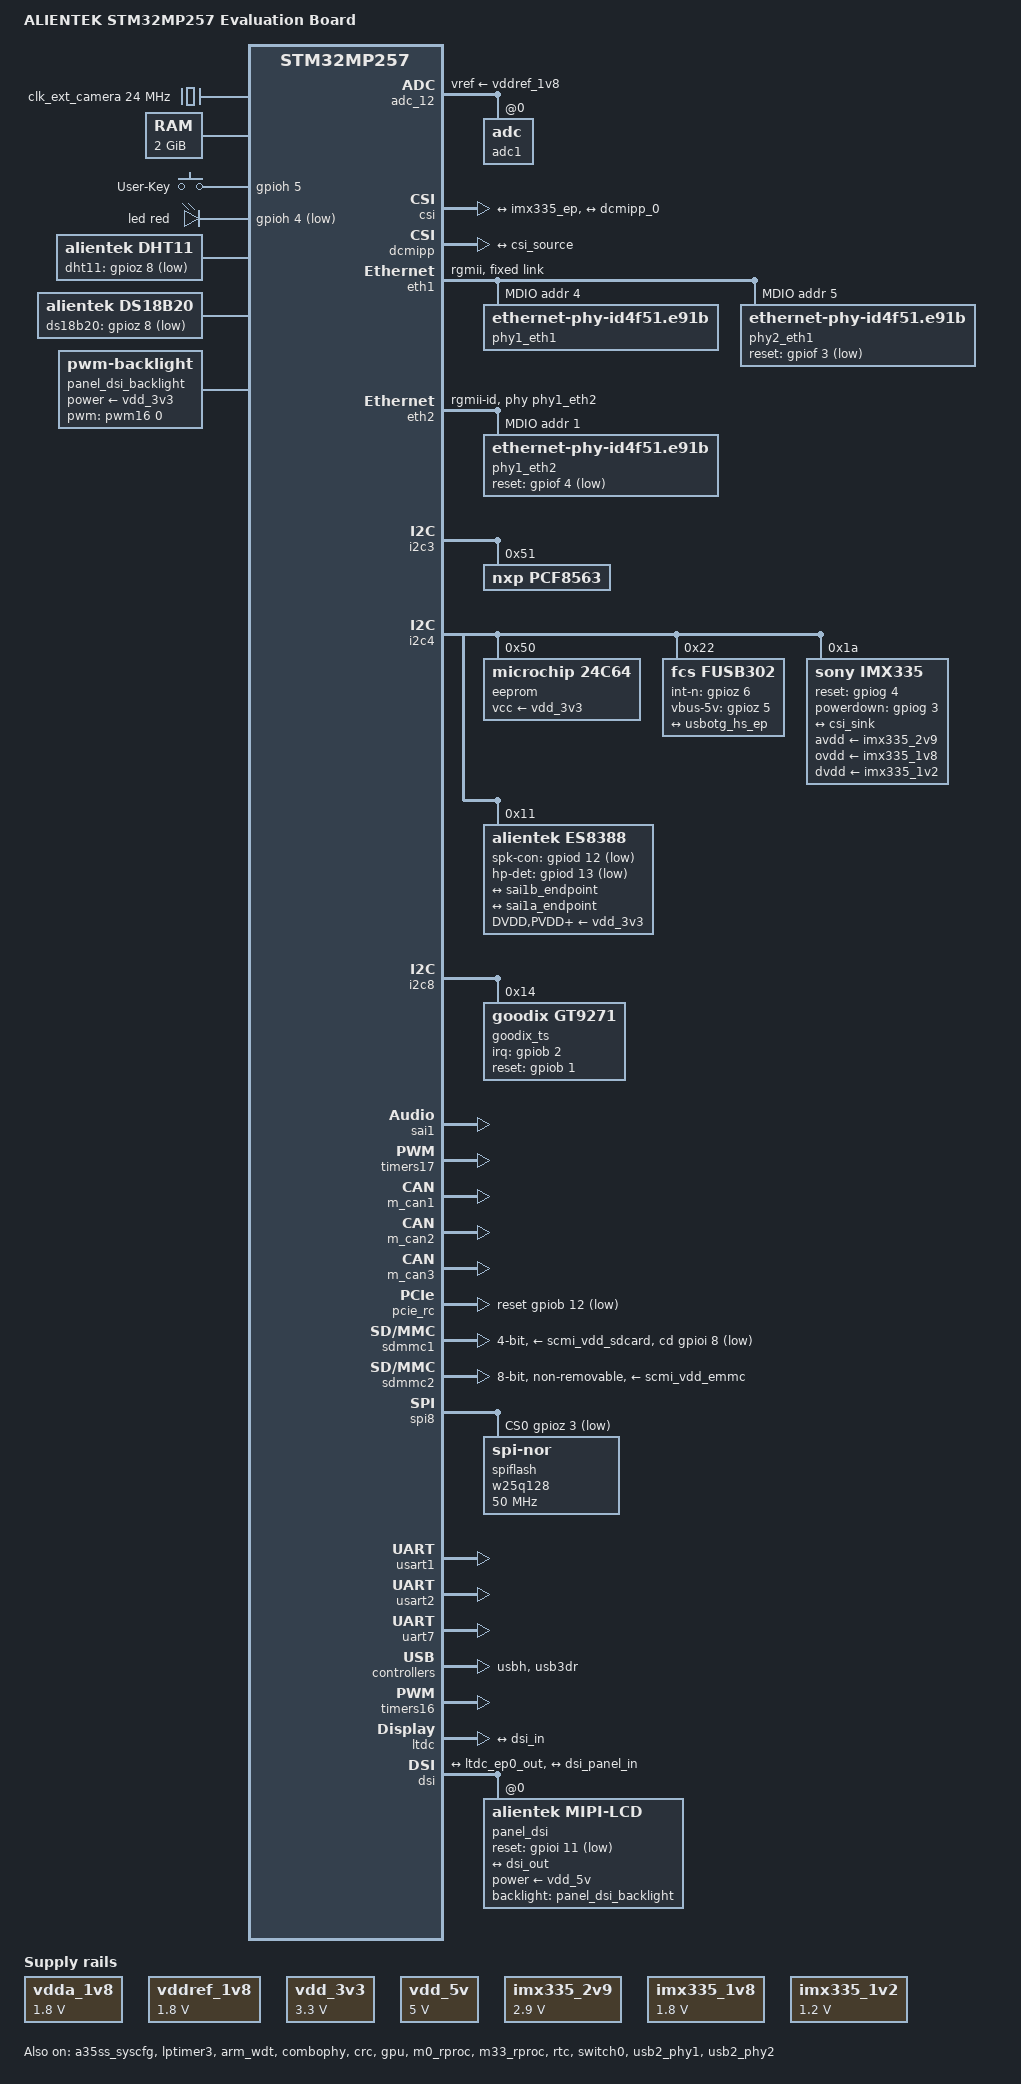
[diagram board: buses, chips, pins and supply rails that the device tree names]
/dts-v1/;

#include <dt-bindings/gpio/gpio.h>
#include <dt-bindings/input/input.h>
#include <dt-bindings/leds/common.h>
#include <dt-bindings/regulator/st,stm32mp25-regulator.h>
#include "stm32mp257.dtsi"
#include "stm32mp25-pinctrl-atk-ddr-2GB.dtsi"
#include "stm32mp25xxak-pinctrl.dtsi"
#include "stm32mp257d-atk-ddr-2GB-ca35tdcid-resmem.dtsi"
#include <dt-bindings/usb/pd.h>

/ {
	model = "ALIENTEK STM32MP257 Evaluation Board";
	compatible = "st,stm32mp257d-atk", "st,stm32mp257";

	aliases {
		ethernet0 = &eth2;
		ethernet1 = &eth1;
		serial0 = &usart2;
		serial1 = &usart1;
		serial2 = &uart7;
		mmc0 = &sdmmc1;
		mmc1 = &sdmmc2;
	};

	chosen {
		stdout-path = "serial0:115200n8";
		#address-cells = <2>;
		#size-cells = <2>;
		ranges;

		framebuffer {
			compatible = "simple-framebuffer";
			clocks = <&rcc CK_BUS_LTDC>, <&rcc CK_KER_LTDC>,
				 <&rcc CK_BUS_LVDS>, <&rcc CK_KER_LVDSPHY>;
			status = "disabled";
		};
	};

	clocks {
		cec_clock: cec-clock {
			compatible = "fixed-clock";
			#clock-cells = <0>;
			clock-frequency = <12000000>;
		};

		clk_ext_camera: clk-ext-camera {
			#clock-cells = <0>;
			compatible = "fixed-clock";
			clock-frequency = <24000000>;
		};

		pad_clk: pad-clk {
			#clock-cells = <0>;
			compatible = "fixed-clock";
			clock-frequency = <100000000>;
		};
	};

	memory@80000000 {
		device_type = "memory";
		reg = <0x0 0x80000000 0x0 0x80000000>;
	};

	gpio-keys {
		compatible = "gpio-keys";

		button-user {
			label = "User-Key";
			linux,code = <BTN_1>;
			gpios = <&gpioh 5 GPIO_ACTIVE_HIGH>;
			gpio-key,wakeup;
			status = "okay";
		};
	};

	gpio-leds {
		compatible = "gpio-leds";
		status = "okay";

		led {
			function = LED_FUNCTION_HEARTBEAT;
			color = <LED_COLOR_ID_RED>;
			gpios = <&gpioh 4 GPIO_ACTIVE_LOW>;
			linux,default-trigger = "heartbeat";
			default-state = "off";
		};
	};

    dht11 {
        compatible = "alientek,dht11";
        dht11-gpio = <&gpioz 8 GPIO_ACTIVE_LOW>;
        status = "okay";
    };

    ds18b20 {
        compatible = "alientek,ds18b20";
        ds18b20-gpio = <&gpioz 8 GPIO_ACTIVE_LOW>;
        status = "okay";
    };

    sound {
        compatible = "audio-graph-card";
        label = "es8388-audio";
		dais = <&sai1a_port &sai1b_port>;
		widgets = 
			"Headphone", "Headphone Jack",
			"Speaker", "Ext Spk",
			"Microphone", "Mic Jack";
        routing =
			"Playback", "MCLK",
    		"Capture", "MCLK",
            "Headphone Jack", "LOUT1",
            "Headphone Jack", "ROUT1",
            "Ext Spk", "LOUT2",
            "Ext Spk", "ROUT2",
            "LINPUT1", "Mic Jack",
            "LINPUT2", "Mic Jack",
            "RINPUT2", "Mic Jack",
            "Mic Jack", "Mic Bias";
    };

	vdda_1v8: regulator-vdda-1v8 {
			compatible = "regulator-fixed";
			regulator-name = "vdda_1v8";
			regulator-min-microvolt = <1800000>;
			regulator-max-microvolt = <1800000>;
			regulator-always-on;
			regulator-boot-on;
	};

	vddref_1v8: regulator-vddref-1v8 {
			compatible = "regulator-fixed";
			regulator-name = "vddref_1v8";
			regulator-min-microvolt = <1800000>;
			regulator-max-microvolt = <1800000>;
			regulator-always-on;
			regulator-boot-on;
	};

	vdd_3v3: regulator-vdd-3v3 {
		compatible = "regulator-fixed";
		regulator-name = "vdd_3v3";
		regulator-min-microvolt = <3300000>;
		regulator-max-microvolt = <3300000>;
		regulator-always-on;
		regulator-boot-on;
	};

	vdd_5v: regulator-vdd-5v {
		compatible = "regulator-fixed";
		regulator-name = "vdd_5v";
		regulator-min-microvolt = <5000000>;
		regulator-max-microvolt = <5000000>;
		regulator-always-on;
		regulator-boot-on;
	};

	imx335_2v9: imx335-2v9 {
		compatible = "regulator-fixed";
		regulator-name = "imx335-avdd";
		regulator-min-microvolt = <2900000>;
		regulator-max-microvolt = <2900000>;
		regulator-always-on;
	};

	imx335_1v8: imx335-1v8 {
		compatible = "regulator-fixed";
		regulator-name = "imx335-ovdd";
		regulator-min-microvolt = <1800000>;
		regulator-max-microvolt = <1800000>;
		regulator-always-on;
	};

	imx335_1v2: imx335-1v2 {
		compatible = "regulator-fixed";
		regulator-name = "imx335-dvdd";
		regulator-min-microvolt = <1200000>;
		regulator-max-microvolt = <1200000>;
		regulator-always-on;
	};

	dsi_lcd_id {
        dsi_select_id = <2>;
    };
	
	panel_dsi_backlight: panel-dsi-backlight {
        compatible = "pwm-backlight";
        pwms = <&pwm16 0 5000000 0>;
		brightness-levels = <
                     0   1   2   3   4   5   6   7	 8   9
					10  11  12  13  14  15  16  17  18  19
					20  21  22  23  24  25  26  27  28  29
					30  31  32  33  34  35  36  37  38  39
                    40  41  42  43  44  45  46  47  48  49
					50  51  52  53  54  55  56  57  58  59
					60  61  62  63  64  65  66  67  68  69
					70  71  72  73  74  75  76  77  78  79
                    80  81  82  83  84  85  86  87  88  89
					90  91  92  93  94  95  96  97  98  99
					100 101 102 103 104 105 106 107 108 109
					110 111 112 113 114 115 116 117 118 119
                    120 121 122 123 124 125 126 127 128 129
					130 131 132 133 134 135 136 137 138 139
					140 141 142 143 144 145 146 147 148 149
					150 151 152 153 154 155 156 157 158 159
                    160 161 162 163 164 165 166 167 168 169
					170 171 172 173 174 175 176 177 178 179
					180 181 182 183 184 185 186 187 188 189
					190 191 192 193 194 195 196 197 198 199
                    200 201 202 203 204 205 206 207 208 209
					210 211 212 213 214 215 216 217 218 219
					220 221 222 223 224 225 226 227 228 229
					230 231 232 233 234 235 236 237 238 239
                    240 241 242 243 244 245 246 247 248 249
					250 251 252 253 254 255>;
        power-supply = <&vdd_3v3>;
        default-brightness-level = <255>;
        status = "okay";
	};
};

&a35ss_syscfg {
	status = "okay";
};

&ipcc1 {
	status = "okay";
};

&ipcc2 {
	status = "okay";
};

/* use LPTIMER with tick broadcast for suspend mode */
&lptimer3 {
	status = "okay";
	timer {
		status = "okay";
	};
};

&ahbsr {
	mbox_client: mailbox-client@1 {
		compatible = "mbox-cdev";
		reg = <1 0>;
		memory-region =  <&ipc_shmem_2>;
		mboxes = <&ipcc2 0>;
		mbox-names = "rx-tx";
		status = "okay";
	};
};

&arm_wdt {
	timeout-sec = <32>;
	status = "okay";
};

&combophy {
	clocks = <&rcc CK_BUS_USB3PCIEPHY>, <&rcc CK_KER_USB3PCIEPHY>, <&pad_clk>;
	clock-names = "apb-clk", "ker-clk", "pad-clk";
	st,rx_equalizer = <1>;
	status = "okay";
};

&crc {
	status = "okay";
};

&adc_12 {
	pinctrl-names = "default";
	pinctrl-0 = <&adc1_in15_pins_a>;
	vdda-supply = <&vdda_1v8>;
	vref-supply = <&vddref_1v8>;
	status = "okay";

	adc1: adc@0 {
		#address-cells = <1>;
		#size-cells = <0>;
		status = "okay";

		channel@15 {
			reg = <15>;               			/* ADC1 in15 channel is used */
			st,min-sample-time-ns = <10000>;  	/* 10µs sampling time */
		};
	};
};

&csi {
	vdd-supply = <&scmi_vddcore>;
	vdda18-supply = <&scmi_v1v8>;
	status = "okay";
	ports {
		#address-cells = <1>;
		#size-cells = <0>;
		port@0 {
			reg = <0>;
			csi_sink: endpoint {			
				remote-endpoint = <&imx335_ep>;	
				data-lanes = <0 1>;
				bus-type = <4>;
			};
		};

		port@1 {
			reg = <1>;
			csi_source: endpoint {
				remote-endpoint = <&dcmipp_0>;
			};
		};
	};
};

&dcmipp {
	status = "okay";
	port {
		dcmipp_0: endpoint {
			remote-endpoint = <&csi_source>;
			bus-type = <4>;
		};
	};
};

&eth1 {
	status = "okay";
	pinctrl-0 = <&eth1_mdio_pins_a>;
	pinctrl-names = "default";
	phy-mode = "rgmii";
	st,eth-clk-sel;
	snps,ext-systime;
    fixed_link: fixed-link {  
    	speed = <1000>;
    	full-duplex;
    };

    mdio1 {
    	#address-cells = <1>;
       	#size-cells = <0>;
    	compatible = "snps,dwmac-mdio";
		phy1_eth1: ethernet-phy@4 {
				compatible = "ethernet-phy-id4f51.e91b",
						"ethernet-phy-ieee802.3-c22";			
				reg = <4>;  
		};
		phy2_eth1: ethernet-phy@5 {
				compatible = "ethernet-phy-id4f51.e91b",
						"ethernet-phy-ieee802.3-c22";
				reset-gpios =  <&gpiof 3 GPIO_ACTIVE_LOW>;
				reset-assert-us = <10000>;
				reset-deassert-us = <80000>;
				reg = <5>;
		};
    };
};

&eth2 {
	status = "okay";
	pinctrl-0 = <&eth2_rgmii_pins_a>;
	pinctrl-1 = <&eth2_rgmii_sleep_pins_a>;
	pinctrl-names = "default", "sleep";
	phy-mode = "rgmii-id";
	max-speed = <1000>;
	phy-handle = <&phy1_eth2>;
	st,eth-ptp-from-rcc;
	st,ext-phyclk;
	st,eth-clk-sel;

	mdio1 {
		#address-cells = <1>;
		#size-cells = <0>;
		compatible = "snps,dwmac-mdio";
		phy1_eth2: ethernet-phy@1 {
			compatible = "ethernet-phy-id4f51.e91b";
			reset-gpios =  <&gpiof 4 GPIO_ACTIVE_LOW>;
			reset-assert-us = <10000>;
			reset-deassert-us = <80000>;
			reg = <1>;
		};
	};
};

&gpu {
	contiguous-area = <&gpu_reserved>;
	status = "okay";
};

&hpdma {
	memory-region = <&hpdma1_lli>;
};

&hpdma2 {
	memory-region = <&hpdma2_lli>;
};

&hpdma3 {
	memory-region = <&hpdma3_lli>;
};

&i2c3 {
	pinctrl-names = "default", "sleep";
	pinctrl-0 = <&i2c3_pins_a>;
	pinctrl-1 = <&i2c3_sleep_pins_a>;
	status = "okay";
	/delete-property/dmas;
	/delete-property/dma-names;

	pcf8563@51 {
		compatible = "nxp,pcf8563";
		reg = <0x51>;
		status = "okay";
	};
};

&i2c4 {
	pinctrl-names = "default", "sleep";
	pinctrl-0 = <&i2c4_pins_a>;
	pinctrl-1 = <&i2c4_sleep_pins_a>;
	status = "okay";
	/delete-property/dmas;
	/delete-property/dma-names;

	eeprom@50 {
		compatible = "microchip,24c64", "atmel,24c64";
		pagesize = <32>;
		reg = <0x50>;
		vcc-supply = <&vdd_3v3>;
		status = "okay";
	};

	fusb302@22 {
		compatible = "fcs,fusb302","fairchild,fusb302";
		reg = <0x22>;
		int-n-gpios = <&gpioz 6 GPIO_ACTIVE_HIGH>;
		vbus-5v-gpios = <&gpioz 5 GPIO_ACTIVE_HIGH>;
		status = "okay";

		connector {
			compatible = "usb-c-connector";
			label = "USB-C";
			power-role = "dual";
			power-opmode = "default";
			try-power-role = "sink";
			source-pdos = <PDO_FIXED(5000, 3000, PDO_FIXED_USB_COMM)>;
			sink-pdos = <PDO_FIXED(5000, 3000, PDO_FIXED_USB_COMM)
			PDO_VAR(3000, 12000, 3000)
			PDO_PPS_APDO(3000, 11000, 3000)>;
			op-sink-microwatt = <10000000>;
			
			port {
				con_usbotg_hs_ep: endpoint {
				remote-endpoint = <&usbotg_hs_ep>;
				};
			};
		};
	};

	imx335: imx335@1a {
		compatible = "sony,imx335";
		reg = <0x1a>;
		clocks = <&clk_ext_camera>;
		avdd-supply = <&imx335_2v9>;
		ovdd-supply = <&imx335_1v8>;
		dvdd-supply = <&imx335_1v2>;        
		reset-gpios = <&gpiog 4 (GPIO_ACTIVE_HIGH | GPIO_PUSH_PULL)>;
		powerdown-gpios = <&gpiog 3 (GPIO_ACTIVE_HIGH | GPIO_PUSH_PULL)>;
		status = "okay";

		port {
			imx335_ep: endpoint {
				remote-endpoint = <&csi_sink>;
				clock-lanes = <0>;
				data-lanes = <1 2>;
				link-frequencies = /bits/ 64 <594000000>;
			};
		};
	};

	es8388: es8388@11 {
		compatible = "alientek,es8388";
		reg = <0x11>;
		#sound-dai-cells = <0>;
		spk-con-gpios = <&gpiod 12 GPIO_ACTIVE_LOW>;
		hp-det-gpios = <&gpiod 13 GPIO_ACTIVE_LOW>;
		clocks = <&sai1b>;
		clock-names = "MCLK";
		DVDD-supply = <&vdd_3v3>;
		PVDD-supply = <&vdd_3v3>;
		AVDD-supply = <&vdd_3v3>;
		HPVDD-supply = <&vdd_3v3>;
		status = "okay";

		port {
			#address-cells = <1>;
			#size-cells = <0>;

			es8388_tx_endpoint: endpoint@0 {
				reg = <0>;
				remote-endpoint = <&sai1b_endpoint>;
				frame-master;
				bitclock-master;
			};

			es8388_rx_endpoint: endpoint@1 {
				reg = <1>;
				remote-endpoint = <&sai1a_endpoint>;
				frame-master;
				bitclock-master;
			};
		};
	};
};

&i2c8 {
	pinctrl-names = "default", "sleep";
	pinctrl-0 = <&i2c8_pins_a>;
	pinctrl-1 = <&i2c8_sleep_pins_a>;
	status = "okay";
	/delete-property/dmas;
	/delete-property/dma-names;

	goodix_ts@14 {
		compatible = "goodix,gt9271", "goodix,gt911";
		reg = <0x14>;
		pinctrl-names = "default";
		interrupt-parent = <&gpiob>;
		interrupts = <2 IRQ_TYPE_EDGE_RISING>;
		irq-gpios = <&gpiob 2 GPIO_ACTIVE_HIGH>;
		reset-gpios = <&gpiob 1 GPIO_ACTIVE_HIGH>;
		status = "okay";
	};
};

&sai1 {
	clocks = <&rcc CK_BUS_SAI1>;
	clock-names = "pclk";
	pinctrl-names = "default", "sleep";
	pinctrl-0 = <&sai1a_pins_a>, <&sai1b_pins_b>;
	pinctrl-1 = <&sai1a_sleep_pins_a>, <&sai1b_sleep_pins_b>;
	status = "okay";

	sai1a: audio-controller@40290004 {
		dma-names = "rx";
		clocks = <&rcc CK_KER_SAI1>, <&sai1b>;
		clock-names = "sai_ck", "MCLK";
		dmas = <&hpdma 73 0x43 0x12>;
		st,sync = <&sai1b 2>;
		status = "okay";

		sai1a_port: port {
			sai1a_endpoint: endpoint {
				remote-endpoint = <&es8388_rx_endpoint>;
				dai-format = "i2s";
				mclk-fs = <256>;
				dai-tdm-slot-num = <2>;
				dai-tdm-slot-width = <32>;
			};
		};
 	};

	sai1b: audio-controller@40290024 {
		#clock-cells = <0>;
		dma-names = "tx";
		clock-names = "sai_ck";
		dmas = <&hpdma 74 0x43 0x21>;
		status = "okay";

		sai1b_port: port {
			sai1b_endpoint: endpoint {
				remote-endpoint = <&es8388_tx_endpoint>;
				dai-format = "i2s";
				mclk-fs = <256>;
				dai-tdm-slot-num = <2>;
				dai-tdm-slot-width = <32>;
 			};
 		};		
	};
};

&timers17 {
    status = "okay";
    /* spare dmas for other usage */
    /delete-property/dmas;
    /delete-property/dma-names;

    pwm17: pwm {
        pinctrl-0 = <&pwm17_pins_a>;
        pinctrl-1 = <&pwm17_sleep_pins_a>;
        pinctrl-names = "default", "sleep";
        #pwm-cells = <2>;
        status = "okay";
    };
};

&ipcc1 {
	status = "okay";
};

&m0_rproc {
	mboxes = <&ipcc2 0>, <&ipcc2 1>, <&ipcc2 2>;
	mbox-names = "rx", "tx", "shutdown";
	memory-region = <&cm0_cube_fw>, <&cm0_cube_data>;
	clocks = <&rcc CK_CPU3>,
		 <&rcc CK_CPU3_AM>,
		 <&rcc CK_LPUART1_C3>,
		 <&rcc CK_KER_LPUART1>,
		 <&rcc CK_LPUART1_AM>,
		 <&scmi_clk CK_SCMI_IPCC2>,
		 <&scmi_clk CK_SCMI_IPCC2_AM>;
	status = "okay";
};

&m33_rproc {
	mboxes = <&ipcc1 0x100>, <&ipcc1 0x101>, <&ipcc1 2>;
	mbox-names = "vq0", "vq1", "shutdown";
	memory-region = <&cm33_cube_fw>, <&cm33_cube_data>,
			<&ipc_shmem_1>, <&vdev0vring0>,
			<&vdev0vring1>, <&vdev0buffer>,
			<&cm33_sram2>;
	st,syscfg-nsvtor = <&a35ss_syscfg 0xa8 0xffffff80>;
	status = "okay";
};

&m_can1 {
	pinctrl-names = "default", "sleep";
	pinctrl-0 = <&m_can1_pins_a>;
	pinctrl-1 = <&m_can1_sleep_pins_a>;
	status = "okay";
};

&m_can2 {
	pinctrl-names = "default", "sleep";
	pinctrl-0 = <&m_can2_pins_a>;
	pinctrl-1 = <&m_can2_sleep_pins_a>;
	status = "okay";
};

&m_can3 {
	pinctrl-names = "default", "sleep";
	pinctrl-0 = <&m_can3_pins_a>;
	pinctrl-1 = <&m_can3_sleep_pins_a>;
	status = "okay";
};

&pcie_ep {
	pinctrl-names = "default";
	pinctrl-0 = <&pcie_init_pins_a>;
	reset-gpios = <&gpiob 12 GPIO_ACTIVE_LOW>;
	status = "disabled";
};

&pcie_rc {
	pinctrl-names = "default";
	pinctrl-0 = <&pcie_init_pins_a>;
	reset-gpios = <&gpiob 12 GPIO_ACTIVE_LOW>;
	status = "okay";
};

&rtc {
	status = "okay";
};

&scmi_regu {
	scmi_vddio1: regulator@0 {
		regulator-min-microvolt = <1800000>;
		regulator-max-microvolt = <3300000>;
	};
	scmi_vddcore: regulator@11  {
		reg = <VOLTD_SCMI_STPMIC2_BUCK2>;
		regulator-name = "vddcore";
	};
	scmi_v1v8: regulator@14  {
		reg = <VOLTD_SCMI_STPMIC2_BUCK5>;
		regulator-name = "v1v8";
	};
	scmi_v3v3: regulator@16 {
		reg = <VOLTD_SCMI_STPMIC2_BUCK7>;
		regulator-name = "v3v3";
	};
	scmi_vdd_emmc: regulator@18 {
		reg = <VOLTD_SCMI_STPMIC2_LDO2>;
		regulator-name = "vdd_emmc";
		regulator-always-on;
        regulator-boot-on;
	};
	scmi_vdd3v3_usb: regulator@20 {
		reg = <VOLTD_SCMI_STPMIC2_LDO4>;
		regulator-name = "vdd3v3_usb";
	};
	scmi_vdd_sdcard: regulator@23 {
		reg = <VOLTD_SCMI_STPMIC2_LDO7>;
		regulator-name = "vdd_sdcard";
	};
};

&sdmmc1 {
	pinctrl-names = "default", "opendrain", "sleep";
	pinctrl-0 = <&sdmmc1_b4_pins_a>;
	pinctrl-1 = <&sdmmc1_b4_od_pins_a>;
	pinctrl-2 = <&sdmmc1_b4_sleep_pins_a>;
	cd-gpios = <&gpioi 8 (GPIO_ACTIVE_LOW | GPIO_PULL_UP)>;
	disable-wp;
	st,neg-edge;
	bus-width = <4>;
	vmmc-supply = <&scmi_vdd_sdcard>;
	vqmmc-supply = <&scmi_vddio1>;
	sd-uhs-sdr12;
	sd-uhs-sdr25;
	sd-uhs-sdr50;
	sd-uhs-ddr50;
	sd-uhs-sdr104;
	status = "okay";
};

&sdmmc2 {
	pinctrl-names = "default", "opendrain", "sleep";
	pinctrl-0 = <&sdmmc2_b4_pins_a &sdmmc2_d47_pins_a>;
	pinctrl-1 = <&sdmmc2_b4_od_pins_a &sdmmc2_d47_pins_a>;
	pinctrl-2 = <&sdmmc2_b4_sleep_pins_a &sdmmc2_d47_sleep_pins_a>;
	non-removable;
	no-sd;
	no-sdio;
	st,neg-edge;
	bus-width = <8>;
	vmmc-supply = <&scmi_vdd_emmc>;
	vqmmc-supply = <&scmi_vddio2>;
	mmc-ddr-1_8v;
	status = "okay";
};

&spi8 {
	pinctrl-names = "default", "sleep";
	pinctrl-0 = <&spi8_pins_a>;
	pinctrl-1 = <&spi8_sleep_pins_a>;
	cs-gpios = <&gpioz 3 GPIO_ACTIVE_LOW>;
	status = "okay";

	spiflash: w25q128@0 {
		compatible = "jedec,spi-nor";
		reg = <0>;
		spi-max-frequency = <50000000>;
		status = "okay";
	};
};

&switch0 {
	status = "okay";
	pinctrl-0 = <&eth1_rgmii_pins_a>, <&eth3_rgmii_pins_a>;
	pinctrl-1 = <&eth1_rgmii_sleep_pins_a>, <&eth3_rgmii_sleep_pins_a>;
	pinctrl-names = "default", "sleep";
	phy-mode = "rgmii";
	st,ethsw-internal-125;
};

&usart1 {
	pinctrl-names = "default", "idle", "sleep";
	pinctrl-0 = <&usart1_pins_a>;
	pinctrl-1 = <&usart1_idle_pins_a>;
	pinctrl-2 = <&usart1_sleep_pins_a>;
	status = "okay";
};

&usart2 {
	pinctrl-names = "default", "idle", "sleep";
	pinctrl-0 = <&usart2_pins_a>;
	pinctrl-1 = <&usart2_idle_pins_a>;
	pinctrl-2 = <&usart2_sleep_pins_a>;
	/delete-property/dmas;
	/delete-property/dma-names;
	status = "okay";
};

&uart7 {
	pinctrl-names = "default", "idle", "sleep";
	pinctrl-0 = <&uart7_pins_a>;
	pinctrl-1 = <&uart7_idle_pins_a>;
	pinctrl-2 = <&uart7_sleep_pins_a>;
	status = "okay";
};

&usb2_phy1 {
	vdd33-supply = <&scmi_vdd3v3_usb>;
	status = "okay";
};

&usb2_phy2 {
	vdd33-supply = <&scmi_vdd3v3_usb>;
	status = "okay";
};

&usbh {
	status = "okay";

	usbh_ehci: usb@482f0000 {
		#address-cells = <1>;
		#size-cells = <0>;
	};

	usbh_ohci: usb@482e0000 {
		status = "disabled";
	};
};

&usb3dr {
	status = "okay";

	dwc3: usb@48300000 {
		maximum-speed = "high-speed";
        usb-role-switch;

		port {
			usbotg_hs_ep: endpoint {
				remote-endpoint = <&con_usbotg_hs_ep>;
			};
		};
	};
};

&timers16 {
    status = "okay";
    /* spare dmas for other usage */
    /delete-property/dmas;
    /delete-property/dma-names;

    pwm16: pwm {
        pinctrl-0 = <&pwm16_pins_a>;
        pinctrl-1 = <&pwm16_sleep_pins_a>;
        pinctrl-names = "default", "sleep";
        #pwm-cells = <2>;
        status = "okay";
    };
};

&ltdc {
	rotation-memory = <&ltdc_sec_rotation>;
	status = "okay";

	port {
		#address-cells = <1>;
		#size-cells = <0>;

		ltdc_ep0_out: endpoint@0 {
			reg = <0>;
			remote-endpoint = <&dsi_in>;
		};
	};
};

&dsi {
	vdd-supply = <&scmi_vddcore>;
	vdda18-supply = <&scmi_v1v8>;
	status = "okay";
	#address-cells = <1>;
	#size-cells = <0>;

	ports {
		#address-cells = <1>;
		#size-cells = <0>;

		port@0 {
			reg = <0>;
			dsi_in: endpoint {
			};
		};

		port@1 {
			reg = <1>;
			dsi_out: endpoint {
			};
		};
	};

	panel_dsi: panel@0 {
		compatible = "alientek,mipi-lcd";
		reg = <0>;
		dsi-lanes = <4>;
		reset-gpio = <&gpioi 11 GPIO_ACTIVE_LOW>;
		power-supply = <&vdd_5v>;
		backlight = <&panel_dsi_backlight>;
		status = "okay";

		port {
			dsi_panel_in: endpoint {
				remote-endpoint = <&dsi_out>;
			};
		};
	};
};

&dsi_in {
	remote-endpoint = <&ltdc_ep0_out>;
};

&dsi_out {
	remote-endpoint = <&dsi_panel_in>;
};
